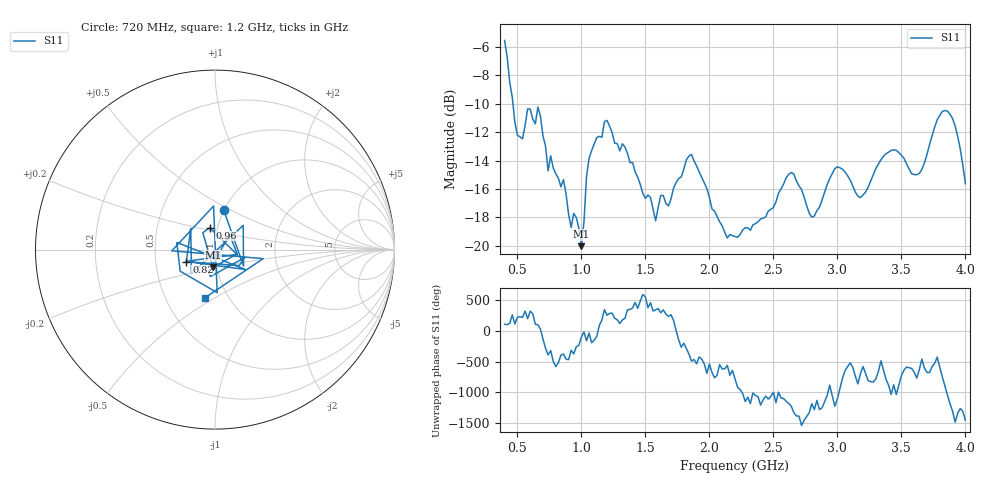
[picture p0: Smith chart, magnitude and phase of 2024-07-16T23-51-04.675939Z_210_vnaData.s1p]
!Created with skrf (http://scikit-rf.org).
# Hz S RI R 50.0
!freq ReS11 ImS11
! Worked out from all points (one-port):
!   181 points, 400 MHz to 4 GHz, reference 50 ohm
!   lowest |S11| = -20.0 dB at 1 GHz (marker M1), VSWR 1.22, Z = 47.9 - j9.6 ohm
!   |S11| at or under -10 dB: 465.2 MHz to end of sweep
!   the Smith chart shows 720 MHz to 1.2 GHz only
!   S11 on the Smith chart (normalised r, x): 720 MHz: 1.00, +0.46; 820 MHz: 0.72, -0.10; 960 MHz: 0.92, +0.23; 1.2 GHz: 0.77, -0.45
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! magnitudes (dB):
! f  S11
! 400 MHz  -5.6
! 500 MHz  -12.2
! 660 MHz  -10.2
! 720 MHz  -13.0
! 740 MHz  -14.7
! 760 MHz  -13.7
! 820 MHz  -15.2
! 860 MHz  -15.3
! 920 MHz  -18.7
! 960 MHz  -18.0
! 1 GHz  -20.0
! 1.06 GHz  -13.8
! 1.2 GHz  -11.2
! 1.3 GHz  -13.3
! 1.58 GHz  -18.2
! 1.76 GHz  -15.3
! 1.86 GHz  -13.6
! 2.2 GHz  -19.3
! 2.66 GHz  -14.9
! 2.8 GHz  -18.0
! 2.98 GHz  -14.6
! 3.1 GHz  -15.4
! 3.18 GHz  -16.6
! 3.44 GHz  -13.2
! 3.56 GHz  -14.6
! 3.64 GHz  -14.9
! 3.86 GHz  -10.5
! 4 GHz  -15.6
